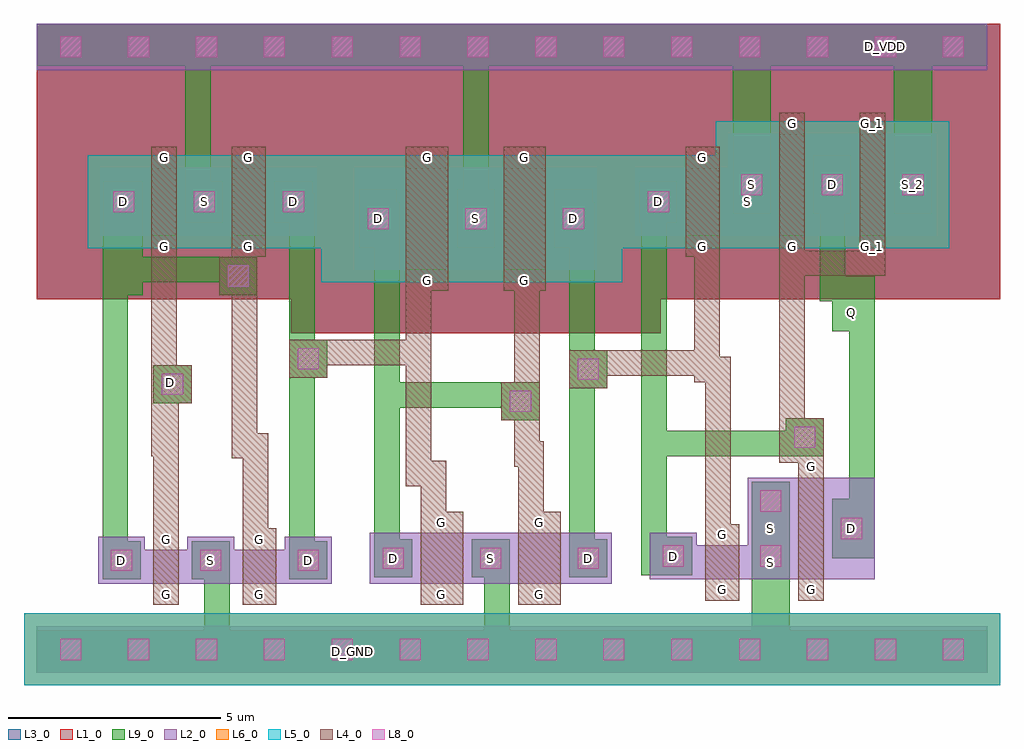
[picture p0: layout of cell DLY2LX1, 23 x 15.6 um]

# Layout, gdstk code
import gdstk
lib = gdstk.Library(unit=1e-6, precision=1e-09)
def R(c, l, rs):  # rectangles x0, y0, x1, y1
    for r in rs: c.add(gdstk.rectangle(r[:2], r[2:], *l))
def A(c, l, x, y, w, h, nx, ny, dx, dy):  # array of equal rectangles
    R(c, l, [(x+i*dx, y+j*dy, x+i*dx+w, y+j*dy+h) for i in range(nx) for j in range(ny)])
def P(c, l, *ps):  # polygons
    for p in ps: c.add(gdstk.Polygon(p, *l))
L1_0 = (1, 0)
L2_0 = (2, 0)
L3_0 = (3, 0)
L4_0 = (4, 0)
L5_0 = (5, 0)
L6_0 = (6, 0)
L8_0 = (8, 0)
L9_0 = (9, 0)

dly2lx1 = lib.new_cell('DLY2LX1')
R(dly2lx1, L1_0, [(6,8,12.4,13.4), (8.3,8,14.7,13.4), (0,8.8,6,13.4), (0,8.8,20.8,15.3), (1.9,8.8,8.1,13.4), (12.6,8.8,18.8,13.4), (14.8,8.8,22.7,14.2), (20.75,13.45,22.7,15.3)])
A(dly2lx1, L2_0, 16.3, 10.3, 1.1, 2.4, 3, 1, 1.9, 0)
R(dly2lx1, L2_0, [(0,0,22.4,1.1), (1.45,2.1,2.55,3.2), (2.55,2.1,3.55,2.9), (3.55,2.1,4.65,3.2), (3.55,2.1,4.65,3.2), (4.65,2.1,5.85,2.9), (5.85,2.1,6.95,3.2), (7.85,2.1,8.95,3.3), (8.95,2.1,10.15,3.3), (10.15,2.1,11.25,3.3), (10.15,2.1,11.25,3.3), (11.25,2.1,12.45,3.3), (12.45,2.1,13.55,3.3), (14.45,2.2,15.55,3.3), (15.55,2.2,16.75,3), (16.75,2.2,17.85,3.3), (16.75,2.2,17.85,4.6), (16.75,2.2,17.85,3), (17.85,2.2,18.65,4.6), (18.65,2.2,19.75,4.6), (16.75,3.5,17.85,4.6), (7.5,9.5,8.6,11.9), (8.6,9.5,9.8,11.9), (9.8,9.5,10.9,11.9), (9.8,9.5,10.9,11.9), (10.9,9.5,12.1,11.9), (12.1,9.5,13.2,11.9), (1.5,10.3,2.6,11.9), (2.6,10.3,3.4,11.9), (3.4,10.3,4.5,11.9), (3.4,10.3,4.5,11.9), (4.5,10.3,5.5,11.9), (5.5,10.3,6.6,11.9), (14.1,10.3,15.2,11.9), (15.2,10.3,16.2,11.9), (16.2,10.3,17.3,11.9), (17.4,10.3,18.2,12.7), (19.3,10.3,20.1,12.7), (0,14.2,22.4,15.3)])
R(dly2lx1, L3_0, [(6,8,12.4,13.4), (8.3,8,14.7,13.4), (0,8.8,6,13.4), (0,8.8,20.8,15.3), (1.9,8.8,8.1,13.4), (12.6,8.8,18.8,13.4), (14.8,8.8,22.7,14.2), (20.7,13.45,22.7,15.3)])
R(dly2lx1, L4_0, [(2.75,1.6,3.35,2.1), (2.75,1.6,3.35,3.4), (4.85,1.6,5.65,3.4), (4.85,1.6,5.65,2.1), (9.05,1.6,10.05,3.8), (9.05,1.6,10.05,2.1), (11.35,1.6,12.35,3.8), (11.35,1.6,12.35,2.1), (15.75,1.7,16.55,3.5), (15.75,1.7,16.55,2.2), (17.95,1.7,18.55,5.1), (17.95,1.7,18.55,2.2), (2.75,2.9,3.35,3.4), (4.85,2.9,5.65,3.4), (15.75,3,16.55,3.5), (9.05,3.3,10.05,3.8), (11.35,3.3,12.35,3.8), (17.95,4.6,18.55,5.1), (17.5,4.95,18.1,10.1), (17.65,5.1,18.55,6), (3.05,5.65,3.35,6.1), (3.05,5.9,3.35,6.35), (10.95,5.95,11.85,6.85), (2.75,6.35,3.65,7.25), (12.55,6.7,13.45,7.6), (5.95,6.95,6.85,7.85), (12.55,7,16.1,7.6), (5.95,7.25,9.3,7.85), (4.3,8.9,5.2,9.8), (8.7,9,9.7,9.5), (8.7,9,9.7,12.4), (11,9,12,9.5), (11,9,12,12.4), (17.5,9.35,20,9.95), (2.7,9.8,3.3,10.3), (2.7,9.8,3.3,12.4), (4.6,9.8,5.4,10.3), (4.6,9.8,5.4,12.4), (15.3,9.8,16.1,10.3), (15.3,9.8,16.1,12.4), (17.5,9.8,18.1,13.2), (17.5,9.8,18.1,10.3), (19.4,9.8,20,13.2), (19.4,9.8,20,10.3), (2.7,11.9,3.3,12.4), (4.6,11.9,5.4,12.4), (8.7,11.9,9.7,12.4), (11,11.9,12,12.4), (15.3,11.9,16.1,12.4), (17.5,12.7,18.1,13.2), (19.4,12.7,20,13.2)])
P(dly2lx1, L4_0, [(2.7,5.1),(2.75,5.1),(2.75,2.7),(3.35,2.7),(3.35,5.7),(3.3,5.7),(3.3,10.3),(2.7,10.3)],
  [(15.5,6.85),(15.75,6.85),(15.75,2.7),(16.35,2.7),(16.35,7.45),(16.1,7.45),(16.1,10.3),(15.5,10.3)],
  [(4.6,5.05),(4.85,5.05),(4.85,2.6),(5.45,2.6),(5.45,5.65),(5.2,5.65),(5.2,10.1),(4.6,10.1)],
  [(8.7,4.4),(9.05,4.4),(9.05,2.65),(9.65,2.65),(9.65,5),(9.3,5),(9.3,9.3),(8.7,9.3)],
  [(11.25,4.85),(11.35,4.85),(11.35,3),(11.95,3),(11.95,5.45),(11.85,5.45),(11.85,9.65),(11.25,9.65)])
R(dly2lx1, L5_0, [(-0.3,-0.3,22.7,1.4), (6.7,9.2,7.45,12.2), (7.2,9.2,11.2,12.2), (9.5,9.2,13.5,12.2), (13.05,9.2,13.8,12.2), (1.2,10,4.8,12.2), (3.1,10,6.9,12.2), (13.8,10,17.6,12.2), (16,10,21.5,13)])
R(dly2lx1, L6_0, [(-0.3,-0.3,22.7,1.4), (6.7,9.2,7.45,12.2), (7.2,9.2,11.2,12.2), (9.5,9.2,13.5,12.2), (13.05,9.2,13.8,12.2), (1.2,10,4.8,12.2), (3.1,10,6.9,12.2), (13.8,10,17.6,12.2), (16,10,21.5,13)])
A(dly2lx1, L8_0, 0.55, 0.3, 0.5, 0.5, 14, 2, 1.6, 14.2)
A(dly2lx1, L8_0, 16.6, 11.25, 0.5, 0.5, 3, 1, 1.9, 0)
R(dly2lx1, L8_0, [(1.75,2.4,2.25,2.9), (3.85,2.4,4.35,2.9), (3.85,2.4,4.35,2.9), (6.15,2.4,6.65,2.9), (8.15,2.45,8.65,2.95), (10.45,2.45,10.95,2.95), (10.45,2.45,10.95,2.95), (12.75,2.45,13.25,2.95), (14.75,2.5,15.25,3), (17.05,2.5,17.55,3), (18.95,3.15,19.45,3.65), (17.05,3.8,17.55,4.3), (17.85,5.3,18.35,5.8), (11.15,6.15,11.65,6.65), (2.95,6.55,3.45,7.05), (12.75,6.9,13.25,7.4), (6.15,7.15,6.65,7.65), (4.5,9.1,5,9.6), (7.8,10.45,8.3,10.95), (10.1,10.45,10.6,10.95), (10.1,10.45,10.6,10.95), (12.4,10.45,12.9,10.95), (1.8,10.85,2.3,11.35), (3.7,10.85,4.2,11.35), (3.7,10.85,4.2,11.35), (5.8,10.85,6.3,11.35), (14.4,10.85,14.9,11.35)])
A(dly2lx1, L9_0, 16.4, 10.8, 0.9, 1.4, 3, 1, 1.9, 0)
R(dly2lx1, L9_0, [(0,0,22.4,1), (7.15,0.2,7.75,0.8), (10.55,0.25,11.15,3.15), (16.85,0.7,17.75,2.6), (1.55,2.2,2.45,3.1), (3.65,2.2,4.55,3.1), (3.65,2.2,4.55,3.1), (5.95,2.2,6.85,3.1), (7.95,2.25,8.85,3.15), (10.25,2.25,11.15,3.15), (10.25,2.25,11.15,3.15), (12.55,2.25,13.45,3.15), (12.55,2.25,13.15,11.1), (14.25,2.3,14.85,11.3), (14.55,2.3,15.45,3.2), (16.85,2.3,17.75,3.2), (5.95,2.5,6.55,11.3), (7.95,2.55,8.55,11.1), (18.75,2.7,19.65,4.1), (19.15,2.7,19.75,5.5), (16.85,2.9,17.75,3.7), (16.85,3.6,17.75,4.5), (14.25,5.1,18.55,5.7), (17.65,5.1,18.55,6), (10.95,5.95,11.85,6.85), (7.95,6.25,11.85,6.85), (2.75,6.35,3.65,7.25), (2.85,6.55,3.45,7.15), (12.55,6.7,13.45,7.6), (5.95,6.95,6.85,7.85), (18.75,8.05,19.35,8.85), (18.45,8.75,19.05,11.8), (1.6,8.9,2.5,10.55), (4.3,8.9,5.2,9.8), (1.6,9.2,5.2,9.8), (7.6,10,8.5,11.4), (9.9,10,10.8,11.4), (9.9,10,10.8,11.4), (12.2,10,13.1,11.4), (1.55,10.2,2.5,10.85), (1.6,10.6,2.5,11.6), (3.5,10.6,4.4,11.6), (3.5,10.6,4.4,11.6), (5.6,10.6,6.5,11.6), (14.2,10.6,15.1,11.6), (3.5,10.65,4.1,14.3), (20.2,11.05,21.1,15.1), (10.05,11.1,10.65,15.1), (16.4,11.1,17.3,15.05), (0,14.3,22.4,15.3), (19.7,14.45,20.3,15.05)])
P(dly2lx1, L9_0, [(1.55,2.2),(2.35,2.2),(2.35,2.8),(2.15,2.8),(2.15,6.85),(1.55,6.85)],
  [(1.55,6.35),(2.15,6.35),(2.15,10.95),(2.25,10.95),(2.25,11.6),(1.55,11.6)],
  [(3.95,0.2),(11.1,0.2),(11.1,0.8),(4.55,0.8),(4.55,3.1),(3.95,3.1)],
  [(18.6,8.75),(19.15,8.75),(19.15,4.9),(19.75,4.9),(19.75,9.35),(18.6,9.35)])
dly2lx1.add(gdstk.Label('G', (17.8,10.052), layer=4, texttype=0))
dly2lx1.add(gdstk.Label('G', (17.8,12.952), layer=4, texttype=0))
dly2lx1.add(gdstk.Label('G_1', (19.7,10.052), layer=4, texttype=0))
dly2lx1.add(gdstk.Label('G_1', (19.7,12.952), layer=4, texttype=0))
dly2lx1.add(gdstk.Label('S', (16.849,11.501), layer=9, texttype=0))
dly2lx1.add(gdstk.Label('D', (18.749,11.501), layer=9, texttype=0))
dly2lx1.add(gdstk.Label('S_2', (20.649,11.5), layer=9, texttype=0))
dly2lx1.add(gdstk.Label('G', (18.25,1.952), layer=4, texttype=0))
dly2lx1.add(gdstk.Label('G', (18.25,4.852), layer=4, texttype=0))
dly2lx1.add(gdstk.Label('S', (17.299,3.401), layer=2, texttype=0))
dly2lx1.add(gdstk.Label('D', (19.199,3.401), layer=9, texttype=0))
dly2lx1.add(gdstk.Label('G', (9.55,1.852), layer=4, texttype=0))
dly2lx1.add(gdstk.Label('G', (9.55,3.552), layer=4, texttype=0))
dly2lx1.add(gdstk.Label('S', (10.701,2.701), layer=9, texttype=0))
dly2lx1.add(gdstk.Label('D', (8.401,2.701), layer=9, texttype=0))
dly2lx1.add(gdstk.Label('G', (9.2,9.252), layer=4, texttype=0))
dly2lx1.add(gdstk.Label('G', (9.2,12.152), layer=4, texttype=0))
dly2lx1.add(gdstk.Label('S', (10.351,10.701), layer=9, texttype=0))
dly2lx1.add(gdstk.Label('D', (8.051,10.701), layer=9, texttype=0))
dly2lx1.add(gdstk.Label('G', (3.05,1.852), layer=4, texttype=0))
dly2lx1.add(gdstk.Label('G', (3.05,3.152), layer=4, texttype=0))
dly2lx1.add(gdstk.Label('S', (4.101,2.651), layer=9, texttype=0))
dly2lx1.add(gdstk.Label('D', (2.001,2.651), layer=9, texttype=0))
dly2lx1.add(gdstk.Label('G', (5.25,1.852), layer=4, texttype=0))
dly2lx1.add(gdstk.Label('G', (5.25,3.152), layer=4, texttype=0))
dly2lx1.add(gdstk.Label('S', (4.099,2.651), layer=9, texttype=0))
dly2lx1.add(gdstk.Label('D', (6.399,2.651), layer=9, texttype=0))
dly2lx1.add(gdstk.Label('G', (3,10.052), layer=4, texttype=0))
dly2lx1.add(gdstk.Label('G', (3,12.152), layer=4, texttype=0))
dly2lx1.add(gdstk.Label('S', (3.951,11.101), layer=9, texttype=0))
dly2lx1.add(gdstk.Label('D', (2.051,11.101), layer=9, texttype=0))
dly2lx1.add(gdstk.Label('G', (5,10.052), layer=4, texttype=0))
dly2lx1.add(gdstk.Label('G', (5,12.152), layer=4, texttype=0))
dly2lx1.add(gdstk.Label('S', (3.949,11.101), layer=9, texttype=0))
dly2lx1.add(gdstk.Label('D', (6.049,11.101), layer=9, texttype=0))
dly2lx1.add(gdstk.Label('G', (11.5,9.252), layer=4, texttype=0))
dly2lx1.add(gdstk.Label('G', (11.5,12.152), layer=4, texttype=0))
dly2lx1.add(gdstk.Label('S', (10.349,10.701), layer=9, texttype=0))
dly2lx1.add(gdstk.Label('D', (12.649,10.701), layer=9, texttype=0))
dly2lx1.add(gdstk.Label('G', (11.85,1.852), layer=4, texttype=0))
dly2lx1.add(gdstk.Label('G', (11.85,3.552), layer=4, texttype=0))
dly2lx1.add(gdstk.Label('S', (10.699,2.701), layer=9, texttype=0))
dly2lx1.add(gdstk.Label('D', (12.999,2.701), layer=9, texttype=0))
dly2lx1.add(gdstk.Label('G', (15.7,10.052), layer=4, texttype=0))
dly2lx1.add(gdstk.Label('G', (15.7,12.152), layer=4, texttype=0))
dly2lx1.add(gdstk.Label('S', (16.751,11.101), layer=2, texttype=0))
dly2lx1.add(gdstk.Label('D', (14.651,11.101), layer=9, texttype=0))
dly2lx1.add(gdstk.Label('G', (16.15,1.952), layer=4, texttype=0))
dly2lx1.add(gdstk.Label('G', (16.15,3.252), layer=4, texttype=0))
dly2lx1.add(gdstk.Label('S', (17.301,2.601), layer=2, texttype=0))
dly2lx1.add(gdstk.Label('D', (15.001,2.751), layer=9, texttype=0))
dly2lx1.add(gdstk.Label('D_GND', (7.45,0.5), layer=50, texttype=0))
dly2lx1.add(gdstk.Label('D_VDD', (20,14.75), layer=50, texttype=0))
dly2lx1.add(gdstk.Label('D', (3.15,6.85), layer=50, texttype=0))
dly2lx1.add(gdstk.Label('Q', (19.2,8.5), layer=50, texttype=0))

lib.write_gds('DLY2LX1.gds')
